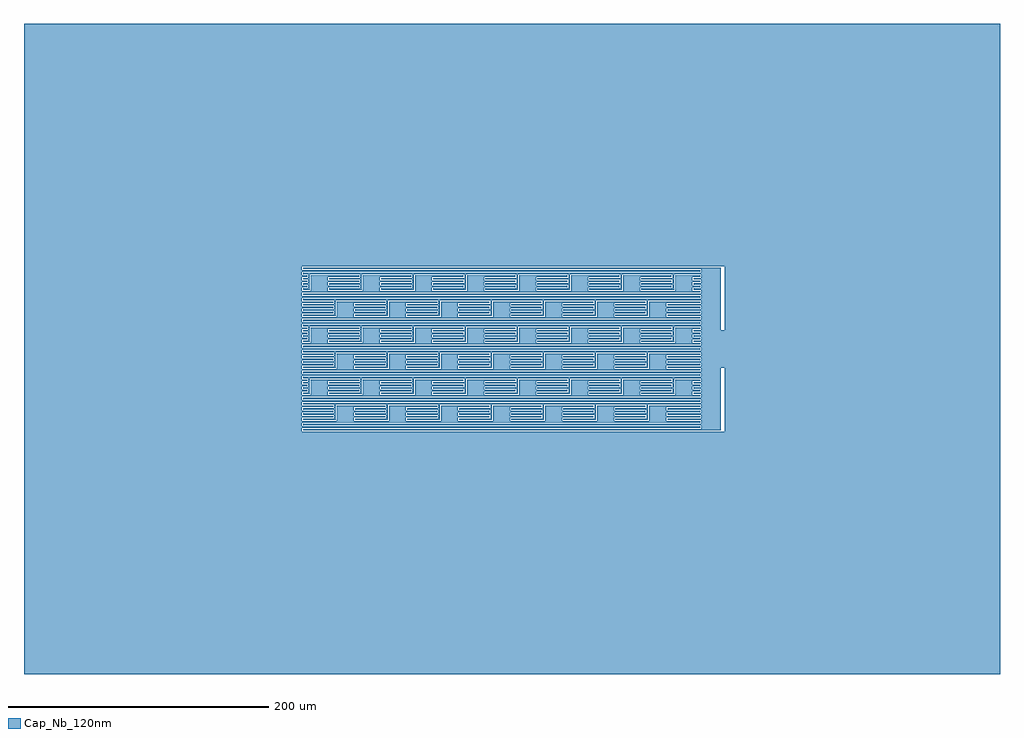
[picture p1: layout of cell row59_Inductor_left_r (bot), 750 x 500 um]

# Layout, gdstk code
import gdstk
lib = gdstk.Library(unit=1e-6, precision=1e-09)
def R(c, l, rs):  # rectangles x0, y0, x1, y1
    for r in rs: c.add(gdstk.rectangle(r[:2], r[2:], *l))
def A(c, l, x, y, w, h, nx, ny, dx, dy):  # array of equal rectangles
    R(c, l, [(x+i*dx, y+j*dy, x+i*dx+w, y+j*dy+h) for i in range(nx) for j in range(ny)])
def P(c, l, *ps):  # polygons
    for p in ps: c.add(gdstk.Polygon(p, *l))
Cap_Nb_120nm = (6, 0)

row59_inductor_left_r__b = lib.new_cell('row59_Inductor_left_r (bot)')
A(row59_inductor_left_r__b, Cap_Nb_120nm, 1970.5, -8660.5, 80, 1, 1, 4, 0, 20)
A(row59_inductor_left_r__b, Cap_Nb_120nm, 2050.5, -8660.5, 159, 1, 1, 7, 0, 20)
A(row59_inductor_left_r__b, Cap_Nb_120nm, 1904.5, -8658.5, 146, 1, 1, 7, 0, 20)
A(row59_inductor_left_r__b, Cap_Nb_120nm, 2050.5, -8658.5, 94, 1, 1, 7, 0, 20)
A(row59_inductor_left_r__b, Cap_Nb_120nm, 2044.5, -8634.5, 6, 1, 1, 3, 0, 4)
A(row59_inductor_left_r__b, Cap_Nb_120nm, 2124.5, -8634.5, 20, 1, 1, 3, 0, 4)
A(row59_inductor_left_r__b, Cap_Nb_120nm, 1970.5, -8632.5, 17, 1, 1, 3, 0, 4)
A(row59_inductor_left_r__b, Cap_Nb_120nm, 2050.5, -8632.5, 17, 1, 1, 3, 0, 4)
A(row59_inductor_left_r__b, Cap_Nb_120nm, 2044.5, -8594.5, 6, 1, 1, 3, 0, 4)
A(row59_inductor_left_r__b, Cap_Nb_120nm, 2124.5, -8594.5, 20, 1, 1, 3, 0, 4)
A(row59_inductor_left_r__b, Cap_Nb_120nm, 2050.5, -8592.5, 17, 1, 1, 3, 0, 4)
A(row59_inductor_left_r__b, Cap_Nb_120nm, 2044.5, -8554.5, 6, 1, 1, 3, 0, 4)
A(row59_inductor_left_r__b, Cap_Nb_120nm, 2124.5, -8554.5, 20, 1, 1, 3, 0, 4)
A(row59_inductor_left_r__b, Cap_Nb_120nm, 2050.5, -8552.5, 17, 1, 1, 3, 0, 4)
R(row59_inductor_left_r__b, Cap_Nb_120nm, [(1970.5,-8850,2050.5,-8663.5), (2050.5,-8850,2144.5,-8663.5), (1904.5,-8662.5,2050.5,-8661.5), (2050.5,-8662.5,2144.5,-8661.5), (1970.5,-8596.5,2050.5,-8595.5), (2050.5,-8536.5,2144.5,-8350)])
P(row59_inductor_left_r__b, Cap_Nb_120nm, [(1948.5,-8542.5),(1948.5,-8545.5),(1924.5,-8545.5),(1924.5,-8546.5),(1948.5,-8546.5),(1948.5,-8549.5),(1924.5,-8549.5),(1924.5,-8550.5),(1948.5,-8550.5),(1948.5,-8553.5),(1924.5,-8553.5),(1924.5,-8554.5),(1949.5,-8554.5),(1949.5,-8542.5),(1988.5,-8542.5),(1988.5,-8545.5),(1964.5,-8545.5),(1964.5,-8546.5),(1988.5,-8546.5),(1988.5,-8549.5),(1964.5,-8549.5),(1964.5,-8550.5),(1988.5,-8550.5),(1988.5,-8553.5),(1964.5,-8553.5),(1964.5,-8554.5),(1989.5,-8554.5),(1989.5,-8542.5),(2028.5,-8542.5),(2028.5,-8545.5),(2004.5,-8545.5),(2004.5,-8546.5),(2028.5,-8546.5),(2028.5,-8549.5),(2004.5,-8549.5),(2004.5,-8550.5),(2028.5,-8550.5),(2028.5,-8553.5),(2004.5,-8553.5),(2004.5,-8554.5),(2029.5,-8554.5),(2029.5,-8542.5),(2050.5,-8542.5),(2050.5,-8541.5),(1904.5,-8541.5),(1904.5,-8542.5),(1908.5,-8542.5),(1908.5,-8545.5),(1904.5,-8545.5),(1904.5,-8546.5),(1908.5,-8546.5),(1908.5,-8549.5),(1904.5,-8549.5),(1904.5,-8550.5),(1908.5,-8550.5),(1908.5,-8553.5),(1904.5,-8553.5),(1904.5,-8554.5),(1909.5,-8554.5),(1909.5,-8542.5)],
  [(1968.5,-8562.5),(1968.5,-8565.5),(1944.5,-8565.5),(1944.5,-8566.5),(1968.5,-8566.5),(1968.5,-8569.5),(1944.5,-8569.5),(1944.5,-8570.5),(1968.5,-8570.5),(1968.5,-8573.5),(1944.5,-8573.5),(1944.5,-8574.5),(1969.5,-8574.5),(1969.5,-8562.5),(2008.5,-8562.5),(2008.5,-8565.5),(1984.5,-8565.5),(1984.5,-8566.5),(2008.5,-8566.5),(2008.5,-8569.5),(1984.5,-8569.5),(1984.5,-8570.5),(2008.5,-8570.5),(2008.5,-8573.5),(1984.5,-8573.5),(1984.5,-8574.5),(2009.5,-8574.5),(2009.5,-8562.5),(2048.5,-8562.5),(2048.5,-8565.5),(2024.5,-8565.5),(2024.5,-8566.5),(2048.5,-8566.5),(2048.5,-8569.5),(2024.5,-8569.5),(2024.5,-8570.5),(2048.5,-8570.5),(2048.5,-8573.5),(2024.5,-8573.5),(2024.5,-8574.5),(2049.5,-8574.5),(2049.5,-8562.5),(2050.5,-8562.5),(2050.5,-8561.5),(1904.5,-8561.5),(1904.5,-8562.5),(1928.5,-8562.5),(1928.5,-8565.5),(1904.5,-8565.5),(1904.5,-8566.5),(1928.5,-8566.5),(1928.5,-8569.5),(1904.5,-8569.5),(1904.5,-8570.5),(1928.5,-8570.5),(1928.5,-8573.5),(1904.5,-8573.5),(1904.5,-8574.5),(1929.5,-8574.5),(1929.5,-8562.5)],
  [(1948.5,-8582.5),(1948.5,-8585.5),(1924.5,-8585.5),(1924.5,-8586.5),(1948.5,-8586.5),(1948.5,-8589.5),(1924.5,-8589.5),(1924.5,-8590.5),(1948.5,-8590.5),(1948.5,-8593.5),(1924.5,-8593.5),(1924.5,-8594.5),(1949.5,-8594.5),(1949.5,-8582.5),(1988.5,-8582.5),(1988.5,-8585.5),(1964.5,-8585.5),(1964.5,-8586.5),(1988.5,-8586.5),(1988.5,-8589.5),(1964.5,-8589.5),(1964.5,-8590.5),(1988.5,-8590.5),(1988.5,-8593.5),(1964.5,-8593.5),(1964.5,-8594.5),(1989.5,-8594.5),(1989.5,-8582.5),(2028.5,-8582.5),(2028.5,-8585.5),(2004.5,-8585.5),(2004.5,-8586.5),(2028.5,-8586.5),(2028.5,-8589.5),(2004.5,-8589.5),(2004.5,-8590.5),(2028.5,-8590.5),(2028.5,-8593.5),(2004.5,-8593.5),(2004.5,-8594.5),(2029.5,-8594.5),(2029.5,-8582.5),(2050.5,-8582.5),(2050.5,-8581.5),(1904.5,-8581.5),(1904.5,-8582.5),(1908.5,-8582.5),(1908.5,-8585.5),(1904.5,-8585.5),(1904.5,-8586.5),(1908.5,-8586.5),(1908.5,-8589.5),(1904.5,-8589.5),(1904.5,-8590.5),(1908.5,-8590.5),(1908.5,-8593.5),(1904.5,-8593.5),(1904.5,-8594.5),(1909.5,-8594.5),(1909.5,-8582.5)],
  [(1968.5,-8602.5),(1968.5,-8605.5),(1944.5,-8605.5),(1944.5,-8606.5),(1968.5,-8606.5),(1968.5,-8609.5),(1944.5,-8609.5),(1944.5,-8610.5),(1968.5,-8610.5),(1968.5,-8613.5),(1944.5,-8613.5),(1944.5,-8614.5),(1969.5,-8614.5),(1969.5,-8602.5),(2008.5,-8602.5),(2008.5,-8605.5),(1984.5,-8605.5),(1984.5,-8606.5),(2008.5,-8606.5),(2008.5,-8609.5),(1984.5,-8609.5),(1984.5,-8610.5),(2008.5,-8610.5),(2008.5,-8613.5),(1984.5,-8613.5),(1984.5,-8614.5),(2009.5,-8614.5),(2009.5,-8602.5),(2048.5,-8602.5),(2048.5,-8605.5),(2024.5,-8605.5),(2024.5,-8606.5),(2048.5,-8606.5),(2048.5,-8609.5),(2024.5,-8609.5),(2024.5,-8610.5),(2048.5,-8610.5),(2048.5,-8613.5),(2024.5,-8613.5),(2024.5,-8614.5),(2049.5,-8614.5),(2049.5,-8602.5),(2050.5,-8602.5),(2050.5,-8601.5),(1904.5,-8601.5),(1904.5,-8602.5),(1928.5,-8602.5),(1928.5,-8605.5),(1904.5,-8605.5),(1904.5,-8606.5),(1928.5,-8606.5),(1928.5,-8609.5),(1904.5,-8609.5),(1904.5,-8610.5),(1928.5,-8610.5),(1928.5,-8613.5),(1904.5,-8613.5),(1904.5,-8614.5),(1929.5,-8614.5),(1929.5,-8602.5)],
  [(1948.5,-8622.5),(1948.5,-8625.5),(1924.5,-8625.5),(1924.5,-8626.5),(1948.5,-8626.5),(1948.5,-8629.5),(1924.5,-8629.5),(1924.5,-8630.5),(1948.5,-8630.5),(1948.5,-8633.5),(1924.5,-8633.5),(1924.5,-8634.5),(1949.5,-8634.5),(1949.5,-8622.5),(1988.5,-8622.5),(1988.5,-8625.5),(1964.5,-8625.5),(1964.5,-8626.5),(1988.5,-8626.5),(1988.5,-8629.5),(1964.5,-8629.5),(1964.5,-8630.5),(1988.5,-8630.5),(1988.5,-8633.5),(1964.5,-8633.5),(1964.5,-8634.5),(1989.5,-8634.5),(1989.5,-8622.5),(2028.5,-8622.5),(2028.5,-8625.5),(2004.5,-8625.5),(2004.5,-8626.5),(2028.5,-8626.5),(2028.5,-8629.5),(2004.5,-8629.5),(2004.5,-8630.5),(2028.5,-8630.5),(2028.5,-8633.5),(2004.5,-8633.5),(2004.5,-8634.5),(2029.5,-8634.5),(2029.5,-8622.5),(2050.5,-8622.5),(2050.5,-8621.5),(1904.5,-8621.5),(1904.5,-8622.5),(1908.5,-8622.5),(1908.5,-8625.5),(1904.5,-8625.5),(1904.5,-8626.5),(1908.5,-8626.5),(1908.5,-8629.5),(1904.5,-8629.5),(1904.5,-8630.5),(1908.5,-8630.5),(1908.5,-8633.5),(1904.5,-8633.5),(1904.5,-8634.5),(1909.5,-8634.5),(1909.5,-8622.5)],
  [(1968.5,-8642.5),(1968.5,-8645.5),(1944.5,-8645.5),(1944.5,-8646.5),(1968.5,-8646.5),(1968.5,-8649.5),(1944.5,-8649.5),(1944.5,-8650.5),(1968.5,-8650.5),(1968.5,-8653.5),(1944.5,-8653.5),(1944.5,-8654.5),(1969.5,-8654.5),(1969.5,-8642.5),(2008.5,-8642.5),(2008.5,-8645.5),(1984.5,-8645.5),(1984.5,-8646.5),(2008.5,-8646.5),(2008.5,-8649.5),(1984.5,-8649.5),(1984.5,-8650.5),(2008.5,-8650.5),(2008.5,-8653.5),(1984.5,-8653.5),(1984.5,-8654.5),(2009.5,-8654.5),(2009.5,-8642.5),(2048.5,-8642.5),(2048.5,-8645.5),(2024.5,-8645.5),(2024.5,-8646.5),(2048.5,-8646.5),(2048.5,-8649.5),(2024.5,-8649.5),(2024.5,-8650.5),(2048.5,-8650.5),(2048.5,-8653.5),(2024.5,-8653.5),(2024.5,-8654.5),(2049.5,-8654.5),(2049.5,-8642.5),(2050.5,-8642.5),(2050.5,-8641.5),(1904.5,-8641.5),(1904.5,-8642.5),(1928.5,-8642.5),(1928.5,-8645.5),(1904.5,-8645.5),(1904.5,-8646.5),(1928.5,-8646.5),(1928.5,-8649.5),(1904.5,-8649.5),(1904.5,-8650.5),(1928.5,-8650.5),(1928.5,-8653.5),(1904.5,-8653.5),(1904.5,-8654.5),(1929.5,-8654.5),(1929.5,-8642.5)],
  [(2209.5,-8556.5),(2209.5,-8555.5),(2203.5,-8555.5),(2203.5,-8552.5),(2209.5,-8552.5),(2209.5,-8551.5),(2203.5,-8551.5),(2203.5,-8548.5),(2209.5,-8548.5),(2209.5,-8547.5),(2203.5,-8547.5),(2203.5,-8544.5),(2209.5,-8544.5),(2209.5,-8543.5),(2190.5,-8543.5),(2190.5,-8555.5),(2163.5,-8555.5),(2163.5,-8552.5),(2187.5,-8552.5),(2187.5,-8551.5),(2163.5,-8551.5),(2163.5,-8548.5),(2187.5,-8548.5),(2187.5,-8547.5),(2163.5,-8547.5),(2163.5,-8544.5),(2187.5,-8544.5),(2187.5,-8543.5),(2150.5,-8543.5),(2150.5,-8555.5),(2123.5,-8555.5),(2123.5,-8552.5),(2147.5,-8552.5),(2147.5,-8551.5),(2123.5,-8551.5),(2123.5,-8548.5),(2147.5,-8548.5),(2147.5,-8547.5),(2123.5,-8547.5),(2123.5,-8544.5),(2147.5,-8544.5),(2147.5,-8543.5),(2110.5,-8543.5),(2110.5,-8555.5),(2083.5,-8555.5),(2083.5,-8552.5),(2107.5,-8552.5),(2107.5,-8551.5),(2083.5,-8551.5),(2083.5,-8548.5),(2107.5,-8548.5),(2107.5,-8547.5),(2083.5,-8547.5),(2083.5,-8544.5),(2107.5,-8544.5),(2107.5,-8543.5),(2070.5,-8543.5),(2070.5,-8555.5),(2050.5,-8555.5),(2050.5,-8556.5)],
  [(2209.5,-8576.5),(2209.5,-8575.5),(2183.5,-8575.5),(2183.5,-8572.5),(2209.5,-8572.5),(2209.5,-8571.5),(2183.5,-8571.5),(2183.5,-8568.5),(2209.5,-8568.5),(2209.5,-8567.5),(2183.5,-8567.5),(2183.5,-8564.5),(2209.5,-8564.5),(2209.5,-8563.5),(2170.5,-8563.5),(2170.5,-8575.5),(2143.5,-8575.5),(2143.5,-8572.5),(2167.5,-8572.5),(2167.5,-8571.5),(2143.5,-8571.5),(2143.5,-8568.5),(2167.5,-8568.5),(2167.5,-8567.5),(2143.5,-8567.5),(2143.5,-8564.5),(2167.5,-8564.5),(2167.5,-8563.5),(2130.5,-8563.5),(2130.5,-8575.5),(2103.5,-8575.5),(2103.5,-8572.5),(2127.5,-8572.5),(2127.5,-8571.5),(2103.5,-8571.5),(2103.5,-8568.5),(2127.5,-8568.5),(2127.5,-8567.5),(2103.5,-8567.5),(2103.5,-8564.5),(2127.5,-8564.5),(2127.5,-8563.5),(2090.5,-8563.5),(2090.5,-8575.5),(2063.5,-8575.5),(2063.5,-8572.5),(2087.5,-8572.5),(2087.5,-8571.5),(2063.5,-8571.5),(2063.5,-8568.5),(2087.5,-8568.5),(2087.5,-8567.5),(2063.5,-8567.5),(2063.5,-8564.5),(2087.5,-8564.5),(2087.5,-8563.5),(2050.5,-8563.5),(2050.5,-8576.5)],
  [(2209.5,-8596.5),(2209.5,-8595.5),(2203.5,-8595.5),(2203.5,-8592.5),(2209.5,-8592.5),(2209.5,-8591.5),(2203.5,-8591.5),(2203.5,-8588.5),(2209.5,-8588.5),(2209.5,-8587.5),(2203.5,-8587.5),(2203.5,-8584.5),(2209.5,-8584.5),(2209.5,-8583.5),(2190.5,-8583.5),(2190.5,-8595.5),(2163.5,-8595.5),(2163.5,-8592.5),(2187.5,-8592.5),(2187.5,-8591.5),(2163.5,-8591.5),(2163.5,-8588.5),(2187.5,-8588.5),(2187.5,-8587.5),(2163.5,-8587.5),(2163.5,-8584.5),(2187.5,-8584.5),(2187.5,-8583.5),(2150.5,-8583.5),(2150.5,-8595.5),(2123.5,-8595.5),(2123.5,-8592.5),(2147.5,-8592.5),(2147.5,-8591.5),(2123.5,-8591.5),(2123.5,-8588.5),(2147.5,-8588.5),(2147.5,-8587.5),(2123.5,-8587.5),(2123.5,-8584.5),(2147.5,-8584.5),(2147.5,-8583.5),(2110.5,-8583.5),(2110.5,-8595.5),(2083.5,-8595.5),(2083.5,-8592.5),(2107.5,-8592.5),(2107.5,-8591.5),(2083.5,-8591.5),(2083.5,-8588.5),(2107.5,-8588.5),(2107.5,-8587.5),(2083.5,-8587.5),(2083.5,-8584.5),(2107.5,-8584.5),(2107.5,-8583.5),(2070.5,-8583.5),(2070.5,-8595.5),(2050.5,-8595.5),(2050.5,-8596.5)],
  [(2209.5,-8616.5),(2209.5,-8615.5),(2183.5,-8615.5),(2183.5,-8612.5),(2209.5,-8612.5),(2209.5,-8611.5),(2183.5,-8611.5),(2183.5,-8608.5),(2209.5,-8608.5),(2209.5,-8607.5),(2183.5,-8607.5),(2183.5,-8604.5),(2209.5,-8604.5),(2209.5,-8603.5),(2170.5,-8603.5),(2170.5,-8615.5),(2143.5,-8615.5),(2143.5,-8612.5),(2167.5,-8612.5),(2167.5,-8611.5),(2143.5,-8611.5),(2143.5,-8608.5),(2167.5,-8608.5),(2167.5,-8607.5),(2143.5,-8607.5),(2143.5,-8604.5),(2167.5,-8604.5),(2167.5,-8603.5),(2130.5,-8603.5),(2130.5,-8615.5),(2103.5,-8615.5),(2103.5,-8612.5),(2127.5,-8612.5),(2127.5,-8611.5),(2103.5,-8611.5),(2103.5,-8608.5),(2127.5,-8608.5),(2127.5,-8607.5),(2103.5,-8607.5),(2103.5,-8604.5),(2127.5,-8604.5),(2127.5,-8603.5),(2090.5,-8603.5),(2090.5,-8615.5),(2063.5,-8615.5),(2063.5,-8612.5),(2087.5,-8612.5),(2087.5,-8611.5),(2063.5,-8611.5),(2063.5,-8608.5),(2087.5,-8608.5),(2087.5,-8607.5),(2063.5,-8607.5),(2063.5,-8604.5),(2087.5,-8604.5),(2087.5,-8603.5),(2050.5,-8603.5),(2050.5,-8616.5)],
  [(2209.5,-8636.5),(2209.5,-8635.5),(2203.5,-8635.5),(2203.5,-8632.5),(2209.5,-8632.5),(2209.5,-8631.5),(2203.5,-8631.5),(2203.5,-8628.5),(2209.5,-8628.5),(2209.5,-8627.5),(2203.5,-8627.5),(2203.5,-8624.5),(2209.5,-8624.5),(2209.5,-8623.5),(2190.5,-8623.5),(2190.5,-8635.5),(2163.5,-8635.5),(2163.5,-8632.5),(2187.5,-8632.5),(2187.5,-8631.5),(2163.5,-8631.5),(2163.5,-8628.5),(2187.5,-8628.5),(2187.5,-8627.5),(2163.5,-8627.5),(2163.5,-8624.5),(2187.5,-8624.5),(2187.5,-8623.5),(2150.5,-8623.5),(2150.5,-8635.5),(2123.5,-8635.5),(2123.5,-8632.5),(2147.5,-8632.5),(2147.5,-8631.5),(2123.5,-8631.5),(2123.5,-8628.5),(2147.5,-8628.5),(2147.5,-8627.5),(2123.5,-8627.5),(2123.5,-8624.5),(2147.5,-8624.5),(2147.5,-8623.5),(2110.5,-8623.5),(2110.5,-8635.5),(2083.5,-8635.5),(2083.5,-8632.5),(2107.5,-8632.5),(2107.5,-8631.5),(2083.5,-8631.5),(2083.5,-8628.5),(2107.5,-8628.5),(2107.5,-8627.5),(2083.5,-8627.5),(2083.5,-8624.5),(2107.5,-8624.5),(2107.5,-8623.5),(2070.5,-8623.5),(2070.5,-8635.5),(2050.5,-8635.5),(2050.5,-8636.5)],
  [(2209.5,-8656.5),(2209.5,-8655.5),(2183.5,-8655.5),(2183.5,-8652.5),(2209.5,-8652.5),(2209.5,-8651.5),(2183.5,-8651.5),(2183.5,-8648.5),(2209.5,-8648.5),(2209.5,-8647.5),(2183.5,-8647.5),(2183.5,-8644.5),(2209.5,-8644.5),(2209.5,-8643.5),(2170.5,-8643.5),(2170.5,-8655.5),(2143.5,-8655.5),(2143.5,-8652.5),(2167.5,-8652.5),(2167.5,-8651.5),(2143.5,-8651.5),(2143.5,-8648.5),(2167.5,-8648.5),(2167.5,-8647.5),(2143.5,-8647.5),(2143.5,-8644.5),(2167.5,-8644.5),(2167.5,-8643.5),(2130.5,-8643.5),(2130.5,-8655.5),(2103.5,-8655.5),(2103.5,-8652.5),(2127.5,-8652.5),(2127.5,-8651.5),(2103.5,-8651.5),(2103.5,-8648.5),(2127.5,-8648.5),(2127.5,-8647.5),(2103.5,-8647.5),(2103.5,-8644.5),(2127.5,-8644.5),(2127.5,-8643.5),(2090.5,-8643.5),(2090.5,-8655.5),(2063.5,-8655.5),(2063.5,-8652.5),(2087.5,-8652.5),(2087.5,-8651.5),(2063.5,-8651.5),(2063.5,-8648.5),(2087.5,-8648.5),(2087.5,-8647.5),(2063.5,-8647.5),(2063.5,-8644.5),(2087.5,-8644.5),(2087.5,-8643.5),(2050.5,-8643.5),(2050.5,-8656.5)],
  [(1903.5,-8592.5),(1907.5,-8592.5),(1907.5,-8591.5),(1903.5,-8591.5),(1903.5,-8588.5),(1907.5,-8588.5),(1907.5,-8587.5),(1903.5,-8587.5),(1903.5,-8584.5),(1907.5,-8584.5),(1907.5,-8583.5),(1903.5,-8583.5),(1903.5,-8580.5),(2050.5,-8580.5),(2050.5,-8579.5),(1903.5,-8579.5),(1903.5,-8576.5),(2050.5,-8576.5),(2050.5,-8575.5),(2023.5,-8575.5),(2023.5,-8572.5),(2047.5,-8572.5),(2047.5,-8571.5),(2023.5,-8571.5),(2023.5,-8568.5),(2047.5,-8568.5),(2047.5,-8567.5),(2023.5,-8567.5),(2023.5,-8564.5),(2047.5,-8564.5),(2047.5,-8563.5),(2010.5,-8563.5),(2010.5,-8575.5),(1983.5,-8575.5),(1983.5,-8572.5),(2007.5,-8572.5),(2007.5,-8571.5),(1983.5,-8571.5),(1983.5,-8568.5),(2007.5,-8568.5),(2007.5,-8567.5),(1983.5,-8567.5),(1983.5,-8564.5),(2007.5,-8564.5),(2007.5,-8563.5),(1970.5,-8563.5),(1970.5,-8575.5),(1943.5,-8575.5),(1943.5,-8572.5),(1967.5,-8572.5),(1967.5,-8571.5),(1943.5,-8571.5),(1943.5,-8568.5),(1967.5,-8568.5),(1967.5,-8567.5),(1943.5,-8567.5),(1943.5,-8564.5),(1967.5,-8564.5),(1967.5,-8563.5),(1930.5,-8563.5),(1930.5,-8575.5),(1903.5,-8575.5),(1903.5,-8572.5),(1927.5,-8572.5),(1927.5,-8571.5),(1903.5,-8571.5),(1903.5,-8568.5),(1927.5,-8568.5),(1927.5,-8567.5),(1903.5,-8567.5),(1903.5,-8564.5),(1927.5,-8564.5),(1927.5,-8563.5),(1903.5,-8563.5),(1903.5,-8560.5),(2050.5,-8560.5),(2050.5,-8559.5),(1903.5,-8559.5),(1903.5,-8556.5),(2050.5,-8556.5),(2050.5,-8555.5),(2043.5,-8555.5),(2043.5,-8552.5),(2050.5,-8552.5),(2050.5,-8551.5),(2043.5,-8551.5),(2043.5,-8548.5),(2050.5,-8548.5),(2050.5,-8547.5),(2043.5,-8547.5),(2043.5,-8544.5),(2050.5,-8544.5),(2050.5,-8543.5),(2030.5,-8543.5),(2030.5,-8555.5),(2003.5,-8555.5),(2003.5,-8552.5),(2027.5,-8552.5),(2027.5,-8551.5),(2003.5,-8551.5),(2003.5,-8548.5),(2027.5,-8548.5),(2027.5,-8547.5),(2003.5,-8547.5),(2003.5,-8544.5),(2027.5,-8544.5),(2027.5,-8543.5),(1990.5,-8543.5),(1990.5,-8555.5),(1963.5,-8555.5),(1963.5,-8552.5),(1987.5,-8552.5),(1987.5,-8551.5),(1963.5,-8551.5),(1963.5,-8548.5),(1987.5,-8548.5),(1987.5,-8547.5),(1963.5,-8547.5),(1963.5,-8544.5),(1987.5,-8544.5),(1987.5,-8543.5),(1950.5,-8543.5),(1950.5,-8555.5),(1923.5,-8555.5),(1923.5,-8552.5),(1947.5,-8552.5),(1947.5,-8551.5),(1923.5,-8551.5),(1923.5,-8548.5),(1947.5,-8548.5),(1947.5,-8547.5),(1923.5,-8547.5),(1923.5,-8544.5),(1947.5,-8544.5),(1947.5,-8543.5),(1910.5,-8543.5),(1910.5,-8555.5),(1903.5,-8555.5),(1903.5,-8552.5),(1907.5,-8552.5),(1907.5,-8551.5),(1903.5,-8551.5),(1903.5,-8548.5),(1907.5,-8548.5),(1907.5,-8547.5),(1903.5,-8547.5),(1903.5,-8544.5),(1907.5,-8544.5),(1907.5,-8543.5),(1903.5,-8543.5),(1903.5,-8540.5),(2050.5,-8540.5),(2050.5,-8539.5),(1903.5,-8539.5),(1903.5,-8536.5),(2050.5,-8536.5),(2050.5,-8350),(1690,-8350),(1690,-8595.5),(1903.5,-8595.5)],
  [(2043.5,-8592.5),(2050.5,-8592.5),(2050.5,-8591.5),(2043.5,-8591.5),(2043.5,-8588.5),(2050.5,-8588.5),(2050.5,-8587.5),(2043.5,-8587.5),(2043.5,-8584.5),(2050.5,-8584.5),(2050.5,-8583.5),(2030.5,-8583.5),(2030.5,-8595.5),(2043.5,-8595.5)],
  [(2003.5,-8592.5),(2027.5,-8592.5),(2027.5,-8591.5),(2003.5,-8591.5),(2003.5,-8588.5),(2027.5,-8588.5),(2027.5,-8587.5),(2003.5,-8587.5),(2003.5,-8584.5),(2027.5,-8584.5),(2027.5,-8583.5),(1990.5,-8583.5),(1990.5,-8595.5),(2003.5,-8595.5)],
  [(1963.5,-8592.5),(1987.5,-8592.5),(1987.5,-8591.5),(1963.5,-8591.5),(1963.5,-8588.5),(1987.5,-8588.5),(1987.5,-8587.5),(1963.5,-8587.5),(1963.5,-8584.5),(1987.5,-8584.5),(1987.5,-8583.5),(1950.5,-8583.5),(1950.5,-8595.5),(1963.5,-8595.5)],
  [(1923.5,-8592.5),(1947.5,-8592.5),(1947.5,-8591.5),(1923.5,-8591.5),(1923.5,-8588.5),(1947.5,-8588.5),(1947.5,-8587.5),(1923.5,-8587.5),(1923.5,-8584.5),(1947.5,-8584.5),(1947.5,-8583.5),(1910.5,-8583.5),(1910.5,-8595.5),(1923.5,-8595.5)],
  [(1970.5,-8663.5),(1903.5,-8663.5),(1903.5,-8660.5),(1970.5,-8660.5),(1970.5,-8659.5),(1903.5,-8659.5),(1903.5,-8656.5),(1970.5,-8656.5),(1970.5,-8655.5),(1943.5,-8655.5),(1943.5,-8652.5),(1967.5,-8652.5),(1967.5,-8651.5),(1943.5,-8651.5),(1943.5,-8648.5),(1967.5,-8648.5),(1967.5,-8647.5),(1943.5,-8647.5),(1943.5,-8644.5),(1967.5,-8644.5),(1967.5,-8643.5),(1930.5,-8643.5),(1930.5,-8655.5),(1903.5,-8655.5),(1903.5,-8652.5),(1927.5,-8652.5),(1927.5,-8651.5),(1903.5,-8651.5),(1903.5,-8648.5),(1927.5,-8648.5),(1927.5,-8647.5),(1903.5,-8647.5),(1903.5,-8644.5),(1927.5,-8644.5),(1927.5,-8643.5),(1903.5,-8643.5),(1903.5,-8640.5),(1970.5,-8640.5),(1970.5,-8639.5),(1903.5,-8639.5),(1903.5,-8636.5),(1970.5,-8636.5),(1970.5,-8635.5),(1963.5,-8635.5),(1963.5,-8632.5),(1970.5,-8632.5),(1970.5,-8631.5),(1963.5,-8631.5),(1963.5,-8628.5),(1970.5,-8628.5),(1970.5,-8627.5),(1963.5,-8627.5),(1963.5,-8624.5),(1970.5,-8624.5),(1970.5,-8623.5),(1950.5,-8623.5),(1950.5,-8635.5),(1923.5,-8635.5),(1923.5,-8632.5),(1947.5,-8632.5),(1947.5,-8631.5),(1923.5,-8631.5),(1923.5,-8628.5),(1947.5,-8628.5),(1947.5,-8627.5),(1923.5,-8627.5),(1923.5,-8624.5),(1947.5,-8624.5),(1947.5,-8623.5),(1910.5,-8623.5),(1910.5,-8635.5),(1903.5,-8635.5),(1903.5,-8632.5),(1907.5,-8632.5),(1907.5,-8631.5),(1903.5,-8631.5),(1903.5,-8628.5),(1907.5,-8628.5),(1907.5,-8627.5),(1903.5,-8627.5),(1903.5,-8624.5),(1907.5,-8624.5),(1907.5,-8623.5),(1903.5,-8623.5),(1903.5,-8620.5),(1970.5,-8620.5),(1970.5,-8619.5),(1903.5,-8619.5),(1903.5,-8616.5),(1970.5,-8616.5),(1970.5,-8615.5),(1943.5,-8615.5),(1943.5,-8612.5),(1967.5,-8612.5),(1967.5,-8611.5),(1943.5,-8611.5),(1943.5,-8608.5),(1967.5,-8608.5),(1967.5,-8607.5),(1943.5,-8607.5),(1943.5,-8604.5),(1967.5,-8604.5),(1967.5,-8603.5),(1930.5,-8603.5),(1930.5,-8615.5),(1903.5,-8615.5),(1903.5,-8612.5),(1927.5,-8612.5),(1927.5,-8611.5),(1903.5,-8611.5),(1903.5,-8608.5),(1927.5,-8608.5),(1927.5,-8607.5),(1903.5,-8607.5),(1903.5,-8604.5),(1927.5,-8604.5),(1927.5,-8603.5),(1903.5,-8603.5),(1903.5,-8600.5),(1970.5,-8600.5),(1970.5,-8599.5),(1903.5,-8599.5),(1903.5,-8596.5),(1970.5,-8596.5),(1970.5,-8595.5),(1690,-8595.5),(1690,-8850),(1970.5,-8850)],
  [(2050.5,-8616.5),(2050.5,-8615.5),(2023.5,-8615.5),(2023.5,-8612.5),(2047.5,-8612.5),(2047.5,-8611.5),(2023.5,-8611.5),(2023.5,-8608.5),(2047.5,-8608.5),(2047.5,-8607.5),(2023.5,-8607.5),(2023.5,-8604.5),(2047.5,-8604.5),(2047.5,-8603.5),(2010.5,-8603.5),(2010.5,-8615.5),(1983.5,-8615.5),(1983.5,-8612.5),(2007.5,-8612.5),(2007.5,-8611.5),(1983.5,-8611.5),(1983.5,-8608.5),(2007.5,-8608.5),(2007.5,-8607.5),(1983.5,-8607.5),(1983.5,-8604.5),(2007.5,-8604.5),(2007.5,-8603.5),(1970.5,-8603.5),(1970.5,-8616.5)],
  [(2050.5,-8636.5),(2050.5,-8635.5),(2043.5,-8635.5),(2043.5,-8632.5),(2050.5,-8632.5),(2050.5,-8631.5),(2043.5,-8631.5),(2043.5,-8628.5),(2050.5,-8628.5),(2050.5,-8627.5),(2043.5,-8627.5),(2043.5,-8624.5),(2050.5,-8624.5),(2050.5,-8623.5),(2030.5,-8623.5),(2030.5,-8635.5),(2003.5,-8635.5),(2003.5,-8632.5),(2027.5,-8632.5),(2027.5,-8631.5),(2003.5,-8631.5),(2003.5,-8628.5),(2027.5,-8628.5),(2027.5,-8627.5),(2003.5,-8627.5),(2003.5,-8624.5),(2027.5,-8624.5),(2027.5,-8623.5),(1990.5,-8623.5),(1990.5,-8635.5),(1970.5,-8635.5),(1970.5,-8636.5)],
  [(2050.5,-8656.5),(2050.5,-8655.5),(2023.5,-8655.5),(2023.5,-8652.5),(2047.5,-8652.5),(2047.5,-8651.5),(2023.5,-8651.5),(2023.5,-8648.5),(2047.5,-8648.5),(2047.5,-8647.5),(2023.5,-8647.5),(2023.5,-8644.5),(2047.5,-8644.5),(2047.5,-8643.5),(2010.5,-8643.5),(2010.5,-8655.5),(1983.5,-8655.5),(1983.5,-8652.5),(2007.5,-8652.5),(2007.5,-8651.5),(1983.5,-8651.5),(1983.5,-8648.5),(2007.5,-8648.5),(2007.5,-8647.5),(1983.5,-8647.5),(1983.5,-8644.5),(2007.5,-8644.5),(2007.5,-8643.5),(1970.5,-8643.5),(1970.5,-8656.5)],
  [(2128.5,-8602.5),(2128.5,-8605.5),(2104.5,-8605.5),(2104.5,-8606.5),(2128.5,-8606.5),(2128.5,-8609.5),(2104.5,-8609.5),(2104.5,-8610.5),(2128.5,-8610.5),(2128.5,-8613.5),(2104.5,-8613.5),(2104.5,-8614.5),(2129.5,-8614.5),(2129.5,-8602.5),(2144.5,-8602.5),(2144.5,-8601.5),(2050.5,-8601.5),(2050.5,-8602.5),(2088.5,-8602.5),(2088.5,-8605.5),(2064.5,-8605.5),(2064.5,-8606.5),(2088.5,-8606.5),(2088.5,-8609.5),(2064.5,-8609.5),(2064.5,-8610.5),(2088.5,-8610.5),(2088.5,-8613.5),(2064.5,-8613.5),(2064.5,-8614.5),(2089.5,-8614.5),(2089.5,-8602.5)],
  [(2108.5,-8622.5),(2108.5,-8625.5),(2084.5,-8625.5),(2084.5,-8626.5),(2108.5,-8626.5),(2108.5,-8629.5),(2084.5,-8629.5),(2084.5,-8630.5),(2108.5,-8630.5),(2108.5,-8633.5),(2084.5,-8633.5),(2084.5,-8634.5),(2109.5,-8634.5),(2109.5,-8622.5),(2144.5,-8622.5),(2144.5,-8621.5),(2050.5,-8621.5),(2050.5,-8622.5),(2068.5,-8622.5),(2068.5,-8625.5),(2050.5,-8625.5),(2050.5,-8626.5),(2068.5,-8626.5),(2068.5,-8629.5),(2050.5,-8629.5),(2050.5,-8630.5),(2068.5,-8630.5),(2068.5,-8633.5),(2050.5,-8633.5),(2050.5,-8634.5),(2069.5,-8634.5),(2069.5,-8622.5)],
  [(2128.5,-8642.5),(2128.5,-8645.5),(2104.5,-8645.5),(2104.5,-8646.5),(2128.5,-8646.5),(2128.5,-8649.5),(2104.5,-8649.5),(2104.5,-8650.5),(2128.5,-8650.5),(2128.5,-8653.5),(2104.5,-8653.5),(2104.5,-8654.5),(2129.5,-8654.5),(2129.5,-8642.5),(2144.5,-8642.5),(2144.5,-8641.5),(2050.5,-8641.5),(2050.5,-8642.5),(2088.5,-8642.5),(2088.5,-8645.5),(2064.5,-8645.5),(2064.5,-8646.5),(2088.5,-8646.5),(2088.5,-8649.5),(2064.5,-8649.5),(2064.5,-8650.5),(2088.5,-8650.5),(2088.5,-8653.5),(2064.5,-8653.5),(2064.5,-8654.5),(2089.5,-8654.5),(2089.5,-8642.5)],
  [(2440,-8594.5),(2210.5,-8594.5),(2210.5,-8597.5),(2144.5,-8597.5),(2144.5,-8598.5),(2210.5,-8598.5),(2210.5,-8601.5),(2144.5,-8601.5),(2144.5,-8602.5),(2168.5,-8602.5),(2168.5,-8605.5),(2144.5,-8605.5),(2144.5,-8606.5),(2168.5,-8606.5),(2168.5,-8609.5),(2144.5,-8609.5),(2144.5,-8610.5),(2168.5,-8610.5),(2168.5,-8613.5),(2144.5,-8613.5),(2144.5,-8614.5),(2169.5,-8614.5),(2169.5,-8602.5),(2210.5,-8602.5),(2210.5,-8605.5),(2184.5,-8605.5),(2184.5,-8606.5),(2210.5,-8606.5),(2210.5,-8609.5),(2184.5,-8609.5),(2184.5,-8610.5),(2210.5,-8610.5),(2210.5,-8613.5),(2184.5,-8613.5),(2184.5,-8614.5),(2210.5,-8614.5),(2210.5,-8617.5),(2144.5,-8617.5),(2144.5,-8618.5),(2210.5,-8618.5),(2210.5,-8621.5),(2144.5,-8621.5),(2144.5,-8622.5),(2148.5,-8622.5),(2148.5,-8625.5),(2144.5,-8625.5),(2144.5,-8626.5),(2148.5,-8626.5),(2148.5,-8629.5),(2144.5,-8629.5),(2144.5,-8630.5),(2148.5,-8630.5),(2148.5,-8633.5),(2144.5,-8633.5),(2144.5,-8634.5),(2149.5,-8634.5),(2149.5,-8622.5),(2188.5,-8622.5),(2188.5,-8625.5),(2164.5,-8625.5),(2164.5,-8626.5),(2188.5,-8626.5),(2188.5,-8629.5),(2164.5,-8629.5),(2164.5,-8630.5),(2188.5,-8630.5),(2188.5,-8633.5),(2164.5,-8633.5),(2164.5,-8634.5),(2189.5,-8634.5),(2189.5,-8622.5),(2210.5,-8622.5),(2210.5,-8625.5),(2204.5,-8625.5),(2204.5,-8626.5),(2210.5,-8626.5),(2210.5,-8629.5),(2204.5,-8629.5),(2204.5,-8630.5),(2210.5,-8630.5),(2210.5,-8633.5),(2204.5,-8633.5),(2204.5,-8634.5),(2210.5,-8634.5),(2210.5,-8637.5),(2144.5,-8637.5),(2144.5,-8638.5),(2210.5,-8638.5),(2210.5,-8641.5),(2144.5,-8641.5),(2144.5,-8642.5),(2168.5,-8642.5),(2168.5,-8645.5),(2144.5,-8645.5),(2144.5,-8646.5),(2168.5,-8646.5),(2168.5,-8649.5),(2144.5,-8649.5),(2144.5,-8650.5),(2168.5,-8650.5),(2168.5,-8653.5),(2144.5,-8653.5),(2144.5,-8654.5),(2169.5,-8654.5),(2169.5,-8642.5),(2210.5,-8642.5),(2210.5,-8645.5),(2184.5,-8645.5),(2184.5,-8646.5),(2210.5,-8646.5),(2210.5,-8649.5),(2184.5,-8649.5),(2184.5,-8650.5),(2210.5,-8650.5),(2210.5,-8653.5),(2184.5,-8653.5),(2184.5,-8654.5),(2210.5,-8654.5),(2210.5,-8657.5),(2144.5,-8657.5),(2144.5,-8658.5),(2210.5,-8658.5),(2210.5,-8661.5),(2144.5,-8661.5),(2144.5,-8662.5),(2225.5,-8662.5),(2225.5,-8614.5),(2228.5,-8614.5),(2228.5,-8663.5),(2144.5,-8663.5),(2144.5,-8850),(2440,-8850)],
  [(2108.5,-8542.5),(2108.5,-8545.5),(2084.5,-8545.5),(2084.5,-8546.5),(2108.5,-8546.5),(2108.5,-8549.5),(2084.5,-8549.5),(2084.5,-8550.5),(2108.5,-8550.5),(2108.5,-8553.5),(2084.5,-8553.5),(2084.5,-8554.5),(2109.5,-8554.5),(2109.5,-8542.5),(2144.5,-8542.5),(2144.5,-8541.5),(2050.5,-8541.5),(2050.5,-8542.5),(2068.5,-8542.5),(2068.5,-8545.5),(2050.5,-8545.5),(2050.5,-8546.5),(2068.5,-8546.5),(2068.5,-8549.5),(2050.5,-8549.5),(2050.5,-8550.5),(2068.5,-8550.5),(2068.5,-8553.5),(2050.5,-8553.5),(2050.5,-8554.5),(2069.5,-8554.5),(2069.5,-8542.5)],
  [(2128.5,-8562.5),(2128.5,-8565.5),(2104.5,-8565.5),(2104.5,-8566.5),(2128.5,-8566.5),(2128.5,-8569.5),(2104.5,-8569.5),(2104.5,-8570.5),(2128.5,-8570.5),(2128.5,-8573.5),(2104.5,-8573.5),(2104.5,-8574.5),(2129.5,-8574.5),(2129.5,-8562.5),(2144.5,-8562.5),(2144.5,-8561.5),(2050.5,-8561.5),(2050.5,-8562.5),(2088.5,-8562.5),(2088.5,-8565.5),(2064.5,-8565.5),(2064.5,-8566.5),(2088.5,-8566.5),(2088.5,-8569.5),(2064.5,-8569.5),(2064.5,-8570.5),(2088.5,-8570.5),(2088.5,-8573.5),(2064.5,-8573.5),(2064.5,-8574.5),(2089.5,-8574.5),(2089.5,-8562.5)],
  [(2108.5,-8582.5),(2108.5,-8585.5),(2084.5,-8585.5),(2084.5,-8586.5),(2108.5,-8586.5),(2108.5,-8589.5),(2084.5,-8589.5),(2084.5,-8590.5),(2108.5,-8590.5),(2108.5,-8593.5),(2084.5,-8593.5),(2084.5,-8594.5),(2109.5,-8594.5),(2109.5,-8582.5),(2144.5,-8582.5),(2144.5,-8581.5),(2050.5,-8581.5),(2050.5,-8582.5),(2068.5,-8582.5),(2068.5,-8585.5),(2050.5,-8585.5),(2050.5,-8586.5),(2068.5,-8586.5),(2068.5,-8589.5),(2050.5,-8589.5),(2050.5,-8590.5),(2068.5,-8590.5),(2068.5,-8593.5),(2050.5,-8593.5),(2050.5,-8594.5),(2069.5,-8594.5),(2069.5,-8582.5)],
  [(2149.5,-8582.5),(2188.5,-8582.5),(2188.5,-8585.5),(2164.5,-8585.5),(2164.5,-8586.5),(2188.5,-8586.5),(2188.5,-8589.5),(2164.5,-8589.5),(2164.5,-8590.5),(2188.5,-8590.5),(2188.5,-8593.5),(2164.5,-8593.5),(2164.5,-8594.5),(2189.5,-8594.5),(2189.5,-8582.5),(2210.5,-8582.5),(2210.5,-8585.5),(2204.5,-8585.5),(2204.5,-8586.5),(2210.5,-8586.5),(2210.5,-8589.5),(2204.5,-8589.5),(2204.5,-8590.5),(2210.5,-8590.5),(2210.5,-8593.5),(2204.5,-8593.5),(2204.5,-8594.5),(2440,-8594.5),(2440,-8350),(2144.5,-8350),(2144.5,-8536.5),(2228.5,-8536.5),(2228.5,-8585.5),(2225.5,-8585.5),(2225.5,-8537.5),(2144.5,-8537.5),(2144.5,-8538.5),(2210.5,-8538.5),(2210.5,-8541.5),(2144.5,-8541.5),(2144.5,-8542.5),(2148.5,-8542.5),(2148.5,-8545.5),(2144.5,-8545.5),(2144.5,-8546.5),(2148.5,-8546.5),(2148.5,-8549.5),(2144.5,-8549.5),(2144.5,-8550.5),(2148.5,-8550.5),(2148.5,-8553.5),(2144.5,-8553.5),(2144.5,-8554.5),(2149.5,-8554.5),(2149.5,-8542.5),(2188.5,-8542.5),(2188.5,-8545.5),(2164.5,-8545.5),(2164.5,-8546.5),(2188.5,-8546.5),(2188.5,-8549.5),(2164.5,-8549.5),(2164.5,-8550.5),(2188.5,-8550.5),(2188.5,-8553.5),(2164.5,-8553.5),(2164.5,-8554.5),(2189.5,-8554.5),(2189.5,-8542.5),(2210.5,-8542.5),(2210.5,-8545.5),(2204.5,-8545.5),(2204.5,-8546.5),(2210.5,-8546.5),(2210.5,-8549.5),(2204.5,-8549.5),(2204.5,-8550.5),(2210.5,-8550.5),(2210.5,-8553.5),(2204.5,-8553.5),(2204.5,-8554.5),(2210.5,-8554.5),(2210.5,-8557.5),(2144.5,-8557.5),(2144.5,-8558.5),(2210.5,-8558.5),(2210.5,-8561.5),(2144.5,-8561.5),(2144.5,-8562.5),(2168.5,-8562.5),(2168.5,-8565.5),(2144.5,-8565.5),(2144.5,-8566.5),(2168.5,-8566.5),(2168.5,-8569.5),(2144.5,-8569.5),(2144.5,-8570.5),(2168.5,-8570.5),(2168.5,-8573.5),(2144.5,-8573.5),(2144.5,-8574.5),(2169.5,-8574.5),(2169.5,-8562.5),(2210.5,-8562.5),(2210.5,-8565.5),(2184.5,-8565.5),(2184.5,-8566.5),(2210.5,-8566.5),(2210.5,-8569.5),(2184.5,-8569.5),(2184.5,-8570.5),(2210.5,-8570.5),(2210.5,-8573.5),(2184.5,-8573.5),(2184.5,-8574.5),(2210.5,-8574.5),(2210.5,-8577.5),(2144.5,-8577.5),(2144.5,-8578.5),(2210.5,-8578.5),(2210.5,-8581.5),(2144.5,-8581.5),(2144.5,-8582.5),(2148.5,-8582.5),(2148.5,-8585.5),(2144.5,-8585.5),(2144.5,-8586.5),(2148.5,-8586.5),(2148.5,-8589.5),(2144.5,-8589.5),(2144.5,-8590.5),(2148.5,-8590.5),(2148.5,-8593.5),(2144.5,-8593.5),(2144.5,-8594.5),(2149.5,-8594.5)])

lib.write_gds('row59_Inductor_left_r__bot_.gds')
